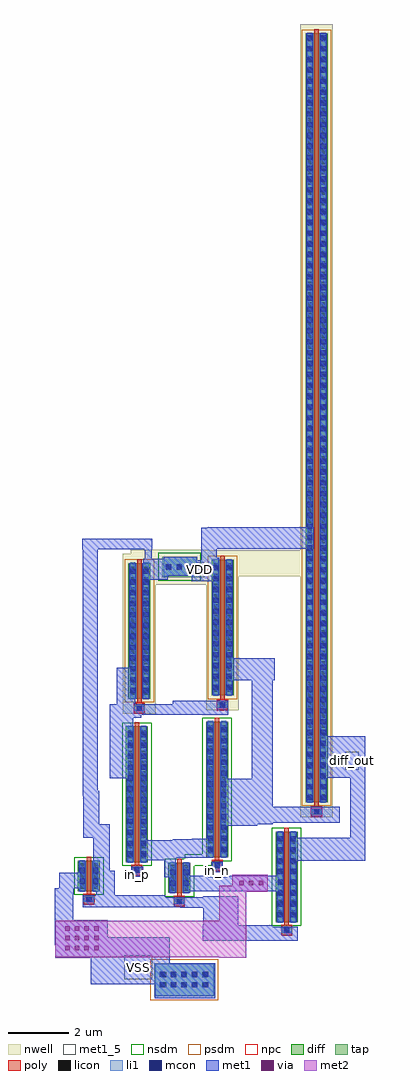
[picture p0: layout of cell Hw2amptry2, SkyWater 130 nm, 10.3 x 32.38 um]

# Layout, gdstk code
import gdstk
lib = gdstk.Library(unit=1e-6, precision=1e-09)
def R(c, l, rs):  # rectangles x0, y0, x1, y1
    for r in rs: c.add(gdstk.rectangle(r[:2], r[2:], *l))
def A(c, l, x, y, w, h, nx, ny, dx, dy):  # array of equal rectangles
    R(c, l, [(x+i*dx, y+j*dy, x+i*dx+w, y+j*dy+h) for i in range(nx) for j in range(ny)])
nwell = (64, 20)
diff = (65, 20)
tap = (65, 44)
poly = (66, 20)
licon = (66, 44)
li1 = (67, 20)
mcon = (67, 44)
met1_5 = (68, 5)
met1 = (68, 20)
via = (68, 44)
met2 = (69, 20)
nsdm = (93, 44)
psdm = (94, 20)
npc = (95, 20)

sky130_fd_pr__pfet_01v8_ = lib.new_cell('sky130_fd_pr__pfet_01v8_LJPZDL')
R(sky130_fd_pr__pfet_01v8_, nwell, [(-0.545,-2.57,0.545,2.74)])
R(sky130_fd_pr__pfet_01v8_, diff, [(-0.365,-2.07,0.365,2.43)])
R(sky130_fd_pr__pfet_01v8_, poly, [(-0.165,-2.555,0.165,-2.225), (-0.075,-2.225,0.075,2.56)])
A(sky130_fd_pr__pfet_01v8_, licon, -0.305, -1.945, 0.17, 0.17, 1, 13, 0, 0.34)
A(sky130_fd_pr__pfet_01v8_, licon, 0.135, -1.945, 0.17, 0.17, 1, 13, 0, 0.34)
R(sky130_fd_pr__pfet_01v8_, licon, [(-0.085,-2.475,0.085,-2.305)])
R(sky130_fd_pr__pfet_01v8_, li1, [(-0.165,-2.475,0.165,-2.305), (-0.305,-2.09,-0.135,2.45), (0.135,-2.09,0.305,2.45)])
A(sky130_fd_pr__pfet_01v8_, mcon, -0.305, -1.885, 0.17, 0.17, 1, 12, 0, 0.36)
A(sky130_fd_pr__pfet_01v8_, mcon, 0.135, -1.885, 0.17, 0.17, 1, 12, 0, 0.36)
R(sky130_fd_pr__pfet_01v8_, mcon, [(-0.085,-2.475,0.085,-2.305)])
R(sky130_fd_pr__pfet_01v8_, met1, [(-0.145,-2.505,0.145,-2.275), (-0.335,-2.07,-0.105,2.43), (0.105,-2.07,0.335,2.43)])
R(sky130_fd_pr__pfet_01v8_, psdm, [(-0.49,-2.195,0.49,2.555)])
R(sky130_fd_pr__pfet_01v8_, npc, [(-0.185,-2.575,0.185,-2.205)])

sky130_fd_pr__nfet_01v8_ = lib.new_cell('sky130_fd_pr__nfet_01v8_FN4ZCM')
R(sky130_fd_pr__nfet_01v8_, diff, [(-0.365,-2.095,0.365,2.405)])
R(sky130_fd_pr__nfet_01v8_, poly, [(-0.165,-2.535,0.165,-2.205), (-0.075,-2.205,0.075,2.535)])
A(sky130_fd_pr__nfet_01v8_, licon, -0.305, -1.97, 0.17, 0.17, 1, 13, 0, 0.34)
A(sky130_fd_pr__nfet_01v8_, licon, 0.135, -1.97, 0.17, 0.17, 1, 13, 0, 0.34)
R(sky130_fd_pr__nfet_01v8_, licon, [(-0.085,-2.455,0.085,-2.285)])
R(sky130_fd_pr__nfet_01v8_, li1, [(-0.165,-2.455,0.165,-2.285), (-0.305,-2.115,-0.135,2.425), (0.135,-2.115,0.305,2.425)])
A(sky130_fd_pr__nfet_01v8_, mcon, -0.305, -1.91, 0.17, 0.17, 1, 12, 0, 0.36)
A(sky130_fd_pr__nfet_01v8_, mcon, 0.135, -1.91, 0.17, 0.17, 1, 12, 0, 0.36)
R(sky130_fd_pr__nfet_01v8_, mcon, [(-0.085,-2.455,0.085,-2.285)])
R(sky130_fd_pr__nfet_01v8_, met1, [(-0.145,-2.485,0.145,-2.255), (-0.335,-2.095,-0.105,2.405), (0.105,-2.095,0.335,2.405)])
R(sky130_fd_pr__nfet_01v8_, nsdm, [(-0.49,-2.22,0.49,2.53)])
R(sky130_fd_pr__nfet_01v8_, npc, [(-0.185,-2.555,0.185,-2.185)])

c_sky130_fd_pr__nfet_01v8_ = lib.new_cell('sky130_fd_pr__nfet_01v8_4WPVHQ')
R(c_sky130_fd_pr__nfet_01v8_, diff, [(-0.365,-0.345,0.365,0.655)])
R(c_sky130_fd_pr__nfet_01v8_, poly, [(-0.165,-0.785,0.165,-0.455), (-0.075,-0.455,0.075,0.785)])
A(c_sky130_fd_pr__nfet_01v8_, licon, -0.305, -0.27, 0.17, 0.17, 1, 3, 0, 0.34)
A(c_sky130_fd_pr__nfet_01v8_, licon, 0.135, -0.27, 0.17, 0.17, 1, 3, 0, 0.34)
R(c_sky130_fd_pr__nfet_01v8_, licon, [(-0.085,-0.705,0.085,-0.535)])
R(c_sky130_fd_pr__nfet_01v8_, li1, [(-0.165,-0.705,0.165,-0.535), (-0.305,-0.365,-0.135,0.675), (0.135,-0.365,0.305,0.675)])
R(c_sky130_fd_pr__nfet_01v8_, mcon, [(-0.085,-0.705,0.085,-0.535), (-0.305,-0.11,-0.135,0.06), (0.135,-0.11,0.305,0.06), (-0.305,0.25,-0.135,0.42), (0.135,0.25,0.305,0.42)])
R(c_sky130_fd_pr__nfet_01v8_, met1, [(-0.145,-0.735,0.145,-0.505), (-0.335,-0.345,-0.105,0.655), (0.105,-0.345,0.335,0.655)])
R(c_sky130_fd_pr__nfet_01v8_, nsdm, [(-0.49,-0.47,0.49,0.78)])
R(c_sky130_fd_pr__nfet_01v8_, npc, [(-0.185,-0.805,0.185,-0.435)])

c_sky130_fd_pr__nfet_01v8__ = lib.new_cell('sky130_fd_pr__nfet_01v8_AT4ZK9')
R(c_sky130_fd_pr__nfet_01v8__, diff, [(-0.365,-1.345,0.365,1.655)])
R(c_sky130_fd_pr__nfet_01v8__, poly, [(-0.165,-1.785,0.165,-1.455), (-0.075,-1.455,0.075,1.785)])
A(c_sky130_fd_pr__nfet_01v8__, licon, -0.305, -1.12, 0.17, 0.17, 1, 8, 0, 0.34)
A(c_sky130_fd_pr__nfet_01v8__, licon, 0.135, -1.12, 0.17, 0.17, 1, 8, 0, 0.34)
R(c_sky130_fd_pr__nfet_01v8__, licon, [(-0.085,-1.705,0.085,-1.535)])
R(c_sky130_fd_pr__nfet_01v8__, li1, [(-0.165,-1.705,0.165,-1.535), (-0.305,-1.365,-0.135,1.675), (0.135,-1.365,0.305,1.675)])
A(c_sky130_fd_pr__nfet_01v8__, mcon, -0.305, -1.19, 0.17, 0.17, 1, 8, 0, 0.36)
A(c_sky130_fd_pr__nfet_01v8__, mcon, 0.135, -1.19, 0.17, 0.17, 1, 8, 0, 0.36)
R(c_sky130_fd_pr__nfet_01v8__, mcon, [(-0.085,-1.705,0.085,-1.535)])
R(c_sky130_fd_pr__nfet_01v8__, met1, [(-0.145,-1.735,0.145,-1.505), (-0.335,-1.345,-0.105,1.655), (0.105,-1.345,0.335,1.655)])
R(c_sky130_fd_pr__nfet_01v8__, nsdm, [(-0.49,-1.47,0.49,1.78)])
R(c_sky130_fd_pr__nfet_01v8__, npc, [(-0.185,-1.805,0.185,-1.435)])

c_sky130_fd_pr__pfet_01v8_ = lib.new_cell('sky130_fd_pr__pfet_01v8_27MD4L')
R(c_sky130_fd_pr__pfet_01v8_, nwell, [(-0.545,-13.07,0.545,13.24)])
R(c_sky130_fd_pr__pfet_01v8_, diff, [(-0.365,-12.57,0.365,12.93)])
R(c_sky130_fd_pr__pfet_01v8_, poly, [(-0.165,-13.055,0.165,-12.725), (-0.075,-12.725,0.075,13.06)])
A(c_sky130_fd_pr__pfet_01v8_, licon, -0.305, -12.485, 0.17, 0.17, 1, 75, 0, 0.34)
A(c_sky130_fd_pr__pfet_01v8_, licon, 0.135, -12.485, 0.17, 0.17, 1, 75, 0, 0.34)
R(c_sky130_fd_pr__pfet_01v8_, licon, [(-0.085,-12.975,0.085,-12.805)])
R(c_sky130_fd_pr__pfet_01v8_, li1, [(-0.165,-12.975,0.165,-12.805), (-0.305,-12.59,-0.135,12.95), (0.135,-12.59,0.305,12.95)])
A(c_sky130_fd_pr__pfet_01v8_, mcon, -0.305, -12.505, 0.17, 0.17, 1, 71, 0, 0.36)
A(c_sky130_fd_pr__pfet_01v8_, mcon, 0.135, -12.505, 0.17, 0.17, 1, 71, 0, 0.36)
R(c_sky130_fd_pr__pfet_01v8_, mcon, [(-0.085,-12.975,0.085,-12.805)])
R(c_sky130_fd_pr__pfet_01v8_, met1, [(-0.145,-13.005,0.145,-12.775), (-0.335,-12.57,-0.105,12.93), (0.105,-12.57,0.335,12.93)])
R(c_sky130_fd_pr__pfet_01v8_, psdm, [(-0.49,-12.695,0.49,13.055)])
R(c_sky130_fd_pr__pfet_01v8_, npc, [(-0.185,-13.075,0.185,-12.705)])

hw2amptry2 = lib.new_cell('Hw2amptry2')
R(hw2amptry2, nwell, [(3.95,11.09,5.67,11.4), (6.6,11.37,8.86,12.23), (3.95,11.4,5.78,11.47), (3.97,11.47,5.78,11.64), (3.98,11.64,5.78,12.01), (3.15,12.01,5.78,12.02), (3.15,12.02,5.76,12.25)])
R(hw2amptry2, tap, [(3.93,-2.56,5.93,-1.46), (4.19,11.34,5.34,12.02)])
A(hw2amptry2, licon, 4.155, -2.27, 0.17, 0.17, 5, 2, 0.34, 0.34)
A(hw2amptry2, licon, 4.33, 11.595, 0.17, 0.17, 3, 1, 0.34, 0)
R(hw2amptry2, li1, [(3.96,-2.55,5.91,-1.48), (4.25,11.37,4.43,11.39), (4.25,11.39,5.32,11.42), (4.25,11.42,5.34,11.96), (4.25,11.96,5.32,12.01), (4.25,12.01,4.43,12.02)])
A(hw2amptry2, mcon, 4.11, -2.27, 0.17, 0.17, 5, 2, 0.36, 0.36)
A(hw2amptry2, mcon, 4.32, 11.6, 0.17, 0.17, 3, 1, 0.36, 0)
R(hw2amptry2, met1_5, [(2.94,-2,3.86,-1.2), (3.16,1.42,3.56,1.53), (5.86,1.57,6.2,1.68), (10.27,4.95,10.72,5.55), (5.26,11.34,5.59,11.83)])
R(hw2amptry2, met1, [(3.95,-2.62,5.95,-2.16), (1.82,-2.16,5.95,-1.46), (1.82,-1.46,4.45,-1.28), (0.64,-1.28,4.45,-0.86), (0.63,-0.86,4.45,-0.6), (5.54,-0.72,8.69,-0.25), (0.63,-0.6,2.39,-0.04), (5.54,-0.25,7.84,-0.21), (5.55,-0.21,6.71,0.37), (0.63,-0.04,1.25,0.82), (4.79,0.37,6.71,0.39), (1.56,0.39,6.71,0.73), (1.56,0.73,4.29,0.79), (5.55,0.73,6.71,0.75), (2,0.79,2.62,1.12), (0.63,0.82,1.26,1.03), (4.87,0.93,8.2,1.41), (1.48,0.97,1.61,1.03), (0.78,1.03,1.61,1.53), (1.9,1.12,2.62,1.42), (4.27,1.39,4.64,1.95), (3.16,1.41,3.56,1.73), (4.87,1.41,5.7,1.43), (6.37,1.41,8.2,1.43), (2,1.42,2.62,1.6), (5.84,1.56,6.21,1.9), (1.91,1.6,2.45,2.7), (8.47,1.93,10.93,2.69), (3.49,1.95,4.64,2.03), (3.49,2.03,5.35,2.04), (3.49,2.04,5.88,2.62), (4.54,2.62,5.88,2.65), (5.17,2.65,5.88,2.66), (10.44,2.69,10.93,4.68), (1.57,2.7,2.45,3.15), (6.17,3.09,7.35,3.15), (1.57,3.15,2.11,4.08), (6.17,3.15,7.86,3.2), (6.17,3.2,10.08,3.73), (6.17,3.73,7.86,4.66), (1.56,4.08,2.11,4.25), (1.56,4.25,2.06,12.26), (7.16,4.66,7.86,7.92), (2.45,4.67,3.23,6.68), (9.43,4.68,10.93,6.06), (2.45,6.68,3.5,6.77), (2.45,6.77,6.39,7.12), (2.69,7.12,3.3,8.34), (4.55,7.12,6.39,7.24), (6.3,7.92,7.92,8.65), (5.17,11.21,6.09,11.39), (3.57,11.25,4.38,11.39), (3.57,11.39,6.09,11.9), (3.57,11.9,5.35,11.95), (5.49,11.9,6.09,11.98), (3.61,11.95,3.84,12.26), (4.25,11.95,5.35,12.01), (5.49,11.98,6.01,12.28), (5.21,12.01,5.35,12.02), (1.54,12.26,3.86,12.61), (5.49,12.28,9.22,12.98), (5.71,12.98,9.22,12.99)])
A(hw2amptry2, via, 0.975, -1.03, 0.15, 0.15, 4, 3, 0.32, 0.32)
A(hw2amptry2, via, 6.75, 1.115, 0.15, 0.15, 3, 1, 0.32, 0)
R(hw2amptry2, met2, [(6.08,-1.28,6.98,-1.27), (0.65,-1.27,6.98,-0.06), (0.65,-0.06,1.39,-0.05), (6.08,-0.06,6.98,0.9), (6.08,0.9,7.7,1.1), (6.51,1.1,7.7,1.47)])
R(hw2amptry2, nsdm, [(5.255,1.77,5.835,1.925), (5.255,1.925,5.525,1.995), (4.945,1.995,5.525,2.15), (4.065,11.215,5.465,12.145)])
R(hw2amptry2, psdm, [(3.805,-2.685,6.055,-1.335)])
hw2amptry2.add(gdstk.Reference(sky130_fd_pr__pfet_01v8_, (3.435,9.38)))
hw2amptry2.add(gdstk.Reference(sky130_fd_pr__nfet_01v8_, (3.355,3.985)))
hw2amptry2.add(gdstk.Reference(c_sky130_fd_pr__nfet_01v8_, (1.765,1.275)))
hw2amptry2.add(gdstk.Reference(c_sky130_fd_pr__nfet_01v8__, (8.325,1.245)))
hw2amptry2.add(gdstk.Reference(c_sky130_fd_pr__pfet_01v8_, (9.315,16.45)))
hw2amptry2.add(gdstk.Reference(sky130_fd_pr__nfet_01v8_, (6.015,4.145)))
hw2amptry2.add(gdstk.Reference(sky130_fd_pr__pfet_01v8_, (6.195,9.49)))
hw2amptry2.add(gdstk.Reference(c_sky130_fd_pr__nfet_01v8_, (4.765,1.215)))
hw2amptry2.add(gdstk.Label('in_p', (3.36,1.475), layer=68, texttype=5))
hw2amptry2.add(gdstk.Label('VDD', (5.425,11.585), layer=68, texttype=5))
hw2amptry2.add(gdstk.Label('diff_out', (10.495,5.25), layer=68, texttype=5))
hw2amptry2.add(gdstk.Label('in_n', (6.03,1.625), layer=68, texttype=5))
hw2amptry2.add(gdstk.Label('VSS', (3.4,-1.6), layer=68, texttype=5))

lib.write_gds('Hw2amptry2.gds')
